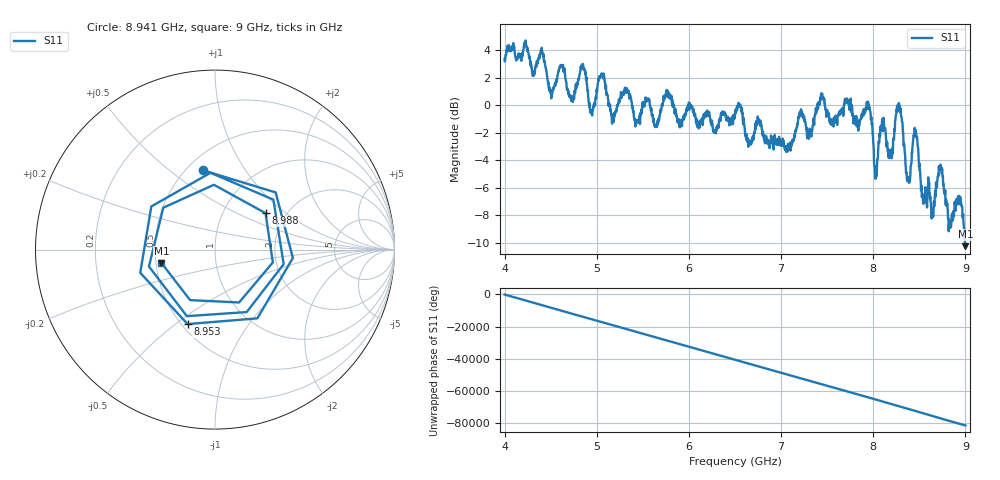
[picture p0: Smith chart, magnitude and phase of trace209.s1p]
! Created with skrf 1.8.0 (http://scikit-rf.org).
# Hz S RI R 50.0
!freq ReS11 ImS11
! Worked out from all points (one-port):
!   1601 points, 4 GHz to 9 GHz, reference 50 ohm
!   lowest |S11| = -10.2 dB at 9 GHz (marker M1), VSWR 1.89, Z = 26.7 - j4.39 ohm
!   |S11| at or under -10 dB: 8.996241 GHz to end of sweep
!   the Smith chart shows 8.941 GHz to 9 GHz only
!   S11 on the Smith chart (normalised r, x): 8.941 GHz: 0.60, +0.66; 8.953 GHz: 0.54, -0.55; 8.988 GHz: 1.58, +0.73; 9 GHz: 0.53, -0.09
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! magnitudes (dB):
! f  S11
! 4 GHz  3.4
! 4.4 GHz  4.1
! 4.503 GHz  0.8
! 4.625 GHz  2.8
! 4.731 GHz  0.4
! 4.856 GHz  2.6
! 4.941 GHz  -0.5
! 5.05 GHz  2.2
! 5.172 GHz  -1.2
! 5.25 GHz  0.4
! 5.875 GHz  -1.2
! 6.5 GHz  -0.6
! 7.125 GHz  -2.5
! 7.438 GHz  0.8
! 7.75 GHz  0.0
! 7.953 GHz  0.0
! 8.028 GHz  -5.1
! 8.188 GHz  -3.8
! 8.278 GHz  0.2
! 8.375 GHz  -5.5
! 8.456 GHz  -1.9
! 8.559 GHz  -6.7
! 8.731 GHz  -4.3
! 8.838 GHz  -8.8
! 8.941 GHz  -7.0
! 8.953 GHz  -7.1
! 8.988 GHz  -9.2
! 9 GHz  -10.2
